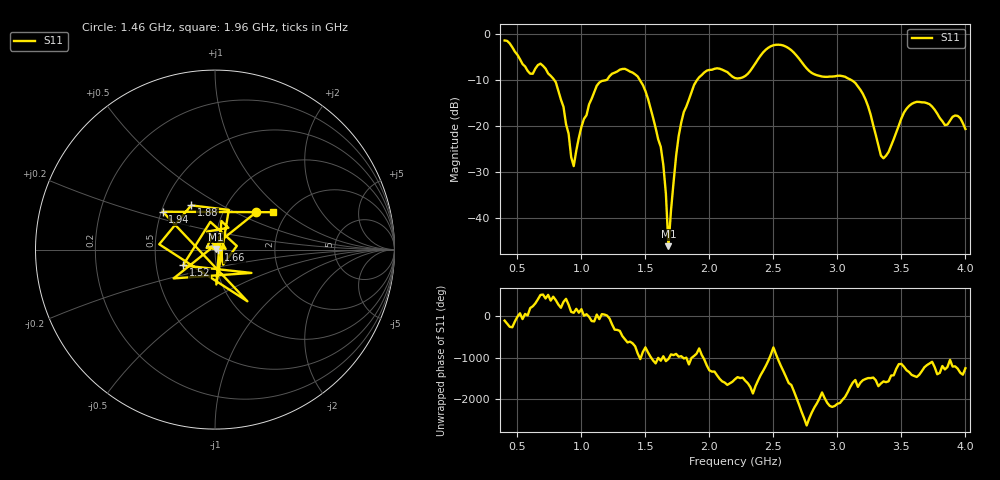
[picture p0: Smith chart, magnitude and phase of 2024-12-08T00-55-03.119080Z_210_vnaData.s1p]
!Created with skrf (http://scikit-rf.org).
# Hz S RI R 50.0
!freq ReS11 ImS11
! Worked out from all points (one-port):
!   181 points, 400 MHz to 4 GHz, reference 50 ohm
!   lowest |S11| = -46.1 dB at 1.68 GHz (marker M1), VSWR 1.01, Z = 50.4 + j0.35 ohm
!   |S11| at or under -10 dB: 788.5 MHz to 1.19 GHz (401.8 MHz wide, 40.6 % of centre); 1.457 GHz to 1.903 GHz (446.1 MHz wide, 26.6 % of centre); 3.11 GHz to end of sweep
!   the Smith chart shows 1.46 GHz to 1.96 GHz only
!   S11 on the Smith chart (normalised r, x): 1.46 GHz: 1.42, +0.66; 1.52 GHz: 0.69, -0.13; 1.66 GHz: 1.04, -0.00; 1.88 GHz: 0.69, +0.37; 1.94 GHz: 0.51, +0.25; 1.96 GHz: 1.70, +0.83
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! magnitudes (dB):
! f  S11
! 400 MHz  -1.4
! 600 MHz  -8.6
! 720 MHz  -7.5
! 860 MHz  -15.8
! 940 MHz  -28.7
! 1 GHz  -20.2
! 1.12 GHz  -11.2
! 1.3 GHz  -7.7
! 1.46 GHz  -10.1
! 1.52 GHz  -14.0
! 1.62 GHz  -24.5
! 1.66 GHz  -34.7
! 1.68 GHz  -46.1
! 1.76 GHz  -22.1
! 1.88 GHz  -11.1
! 1.94 GHz  -8.9
! 1.96 GHz  -8.3
! 2.2 GHz  -9.5
! 2.48 GHz  -2.6
! 2.66 GHz  -4.0
! 2.82 GHz  -8.7
! 3.1 GHz  -9.8
! 3.22 GHz  -14.2
! 3.36 GHz  -27.0
! 3.56 GHz  -15.6
! 3.7 GHz  -15.0
! 3.84 GHz  -19.8
! 4 GHz  -20.6
